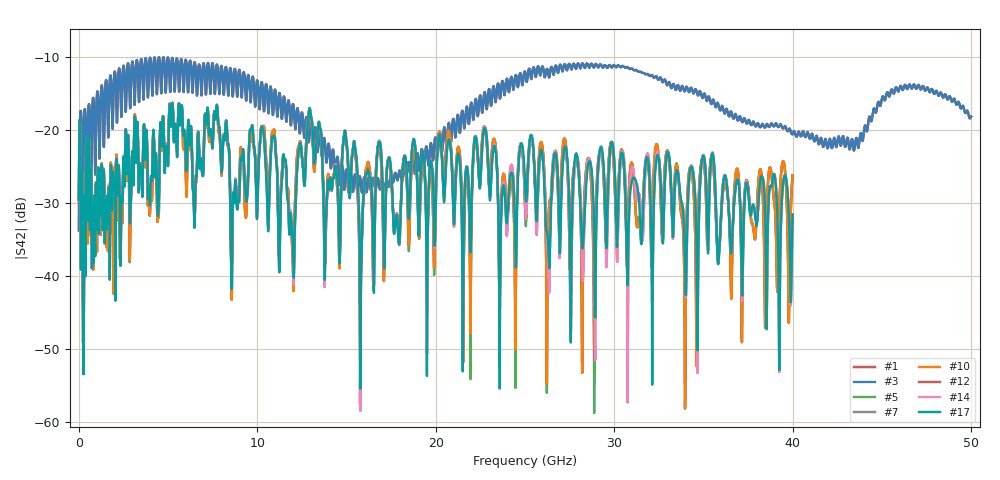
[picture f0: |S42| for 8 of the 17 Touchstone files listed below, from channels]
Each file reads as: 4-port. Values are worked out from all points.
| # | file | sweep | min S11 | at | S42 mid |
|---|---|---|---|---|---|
| 1 | C2M__Z100_IL13_BC_BOR_N_N_N_FEXT1.s4p | 10 MHz to 50 GHz | -57.0 dB | 15.67 GHz | -12.1 dB at 25.01 GHz |
| 2 | C2M__Z100_IL13_BC_BOR_N_N_N_FEXT2.s4p | 10 MHz to 50 GHz | -57.8 dB | 15.43 GHz | -12.1 dB at 25.01 GHz |
| 3 | C2M__Z100_IL13_BC_BOR_N_N_N_NEXT3.s4p | 10 MHz to 50 GHz | -44.9 dB | 240 MHz | -12.1 dB at 25.01 GHz |
| 4 | TEC_Whisper27in_FEXT_F11F12_to_G14G15_07212016.s4p | 10 MHz to 40 GHz | -54.2 dB | 1.02 GHz | -26.8 dB at 20.01 GHz |
| 5 | TEC_Whisper27in_FEXT_F14F15_to_G14G15_07212016.s4p | 10 MHz to 40 GHz | -53.2 dB | 24.1 GHz | -26.8 dB at 20.01 GHz |
| 6 | TEC_Whisper27in_FEXT_F17F18_to_G14G15_07212016.s4p | 10 MHz to 40 GHz | -53.2 dB | 17.6 GHz | -26.8 dB at 20.01 GHz |
| 7 | TEC_Whisper27in_FEXT_G11G12_to_G14G15_07212016.s4p | 10 MHz to 40 GHz | -48.2 dB | 2.29 GHz | -26.6 dB at 20.01 GHz |
| 8 | TEC_Whisper27in_FEXT_G17G18_to_G14G15_07212016.s4p | 10 MHz to 40 GHz | -55.4 dB | 1.71 GHz | -26.4 dB at 20.01 GHz |
| 9 | TEC_Whisper27in_FEXT_H11H12_to_G14G15_07212016.s4p | 10 MHz to 40 GHz | -51.6 dB | 850 MHz | -26.6 dB at 20.01 GHz |
| 10 | TEC_Whisper27in_FEXT_H14H15_to_G14G15_07212016.s4p | 10 MHz to 40 GHz | -65.8 dB | 810 MHz | -26.6 dB at 20.01 GHz |
| 11 | TEC_Whisper27in_FEXT_H17H18_to_G14G15_07212016.s4p | 10 MHz to 40 GHz | -51.3 dB | 10.88 GHz | -26.4 dB at 20.01 GHz |
| 12 | TEC_Whisper27in_NEXT_F11F12_to_G14G15_07212016.s4p | 10 MHz to 40 GHz | -54.2 dB | 1.02 GHz | -29.3 dB at 20.01 GHz |
| 13 | TEC_Whisper27in_NEXT_F14F15_to_G14G15_07212016.s4p | 10 MHz to 40 GHz | -53.2 dB | 24.1 GHz | -29.3 dB at 20.01 GHz |
| 14 | TEC_Whisper27in_NEXT_F17F18_to_G14G15_07212016.s4p | 10 MHz to 40 GHz | -53.2 dB | 17.6 GHz | -29.3 dB at 20.01 GHz |
| 15 | TEC_Whisper27in_NEXT_G11G12_to_G14G15_07212016.s4p | 10 MHz to 40 GHz | -48.2 dB | 2.29 GHz | -28.9 dB at 20.01 GHz |
| 16 | TEC_Whisper27in_NEXT_G17G18_to_G14G15_07212016.s4p | 10 MHz to 40 GHz | -55.4 dB | 1.71 GHz | -29.2 dB at 20.01 GHz |
| 17 | TEC_Whisper27in_NEXT_H11H12_to_G14G15_07212016.s4p | 10 MHz to 40 GHz | -51.6 dB | 850 MHz | -28.9 dB at 20.01 GHz |
